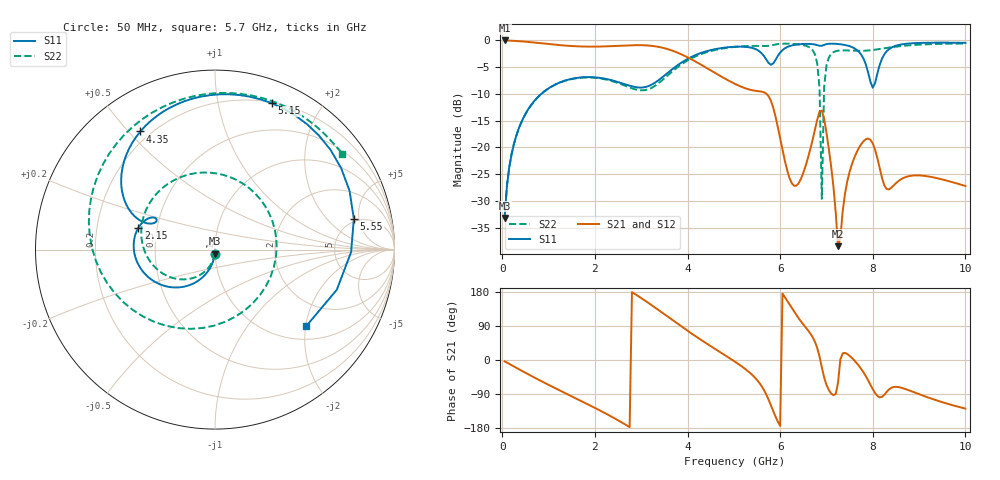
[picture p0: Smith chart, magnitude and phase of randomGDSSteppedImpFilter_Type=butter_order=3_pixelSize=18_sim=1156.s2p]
! freq	dB(S11)	phase(S11)	dB(S12)	phase(S12)
!  dB(S21)	phase(S21)	dB(S22)	phase(S22)
!S-par simulation data
#  GHz  S  DB  R 50
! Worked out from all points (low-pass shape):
!   200 points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, 50 MHz to 10 GHz, reference 50 ohm
!   highest |S21| = -0.01 dB at 50 MHz (marker M1); lowest = -38.4 dB at 7.25 GHz (marker M2)
!   |S21| within 3 dB of the highest: start of sweep to 3.966 GHz
!   lowest |S11| = -33.2 dB at 50 MHz (marker M3), VSWR 1.04, Z = 49.8 - j2.19 ohm
!   |S11| at or under -10 dB: start of sweep to 841.1 MHz
!   |S22| runs from -33.2 to -0.6 dB; largest |S21 - S12| = 0
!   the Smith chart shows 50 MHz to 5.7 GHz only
!   S11 on the Smith chart (normalised r, x): 50 MHz: 1.00, -0.04; 2.15 GHz: 0.39, +0.12; 4.35 GHz: 0.16, +0.54; 5.15 GHz: 0.21, +1.44; 5.55 GHz: 4.60, +4.26; 5.7 GHz: 1.31, -2.01
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0.05  -33.18 -92.9  -0.01 -3.5  -0.01 -3.5  -33.16 -93.8
0.5  -13.74 -119.6  -0.23 -33.7  -0.23 -33.7  -13.76 -128.8
1.75  -6.88 179.1  -1.14 -111.1  -1.14 -111.1  -6.94 138.0
2.15  -7.05 164.1  -1.13 -135.8  -1.13 -135.8  -7.15 103.8
3.4  -7.26 159.0  -1.25 129.6  -1.25 129.6  -7.82 -82.1
4.35  -2.17 122.3  -4.83 48.4  -4.83 48.4  -2.38 152.5
5.05  -1.17 77.1  -8.23 -6.5  -8.23 -6.5  -1.18 88.9
5.15  -1.16 68.7  -8.62 -15.0  -8.62 -15.0  -1.11 80.6
5.55  -2.02 12.5  -9.50 -60.3  -9.50 -60.3  -1.03 48.3
5.7  -3.56 -40.2  -9.93 -91.1  -9.93 -91.1  -1.04 37.0
5.95  -2.89 170.0  -16.21 -162.4  -16.21 -162.4  -0.68 16.8
6.2  -1.07 104.9  -25.66 147.2  -25.66 147.2  -0.62 -7.4
6.7  -0.70 54.1  -18.61 60.5  -18.61 60.5  -1.79 -75.9
6.85  -0.99 44.4  -13.33 9.3  -13.33 9.3  -8.87 -134.4
6.9  -0.99 42.5  -13.11 -19.1  -13.11 -19.1  -29.60 74.9
6.95  -0.83 39.9  -14.65 -45.9  -14.65 -45.9  -8.64 -6.3
7.25  -0.67 17.3  -38.44 -59.7  -38.44 -59.7  -1.92 -93.7
7.85  -4.48 -70.7  -18.46 -42.7  -18.46 -42.7  -1.91 157.4
8.05  -7.98 153.1  -20.42 -87.4  -20.42 -87.4  -1.73 124.8
8.35  -1.63 48.2  -27.83 -77.7  -27.83 -77.7  -1.33 83.5
9.05  -0.46 -7.5  -25.25 -92.5  -25.25 -92.5  -0.77 19.8
10  -0.45 -44.9  -27.20 -128.2  -27.20 -128.2  -0.58 -29.6
